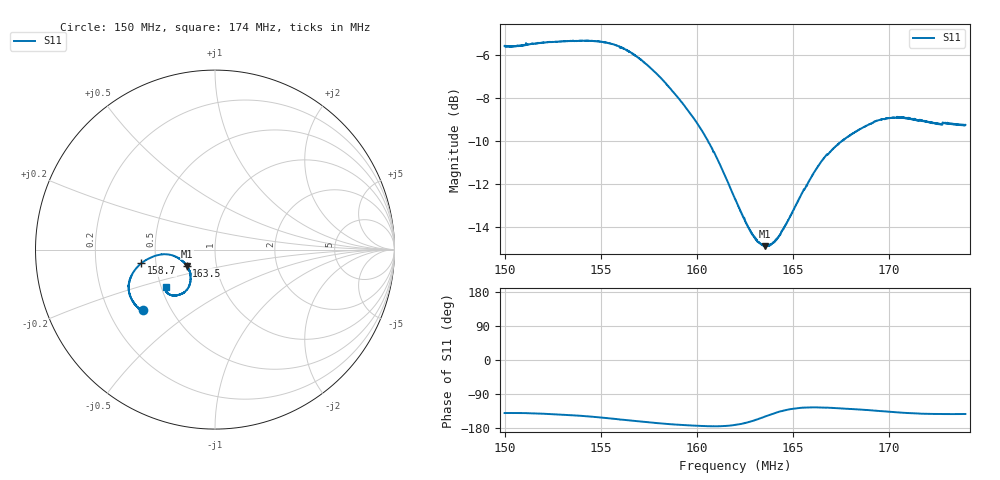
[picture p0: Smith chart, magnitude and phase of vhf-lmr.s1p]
! Calibrated averaged scanner-service zoom
# Hz S RI R 50
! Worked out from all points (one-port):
!   2001 points, 150 MHz to 174 MHz, reference 50 ohm
!   lowest |S11| = -14.9 dB at 163.6 MHz (marker M1), VSWR 1.44, Z = 36 - j6.85 ohm
!   |S11| at or under -10 dB: 160.6 MHz to 167.6 MHz (6.967 MHz wide, 4.25 % of centre)
!   S11 on the Smith chart (normalised r, x): 150 MHz: 0.35, -0.33; 158.7 MHz: 0.41, -0.08; 163.5 MHz: 0.72, -0.13; 174 MHz: 0.53, -0.25
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1.5e8  -0.4027 -0.3385
1.51212e8  -0.4088 -0.3377
1.53e8  -0.4374 -0.3157
1.54464e8  -0.465 -0.2765
1.5534e8  -0.4785 -0.2406
1.56e8  -0.4819 -0.203
1.572e8  -0.4637 -0.1425
1.58652e8  -0.4109 -0.0766
1.59e8  -0.3952 -0.0648
1.59864e8  -0.3542 -0.0426
1.60476e8  -0.3218 -0.0313
1.61244e8  -0.276 -0.0258
1.62e8  -0.2297 -0.0344
1.62864e8  -0.183 -0.0606
1.63188e8  -0.1696 -0.0749
1.635e8  -0.1575 -0.0897
1.6356e8  -0.1551 -0.0919
1.6386e8  -0.1464 -0.1072
1.64184e8  -0.1398 -0.1252
1.65e8  -0.1359 -0.1687
1.65744e8  -0.1437 -0.2043
1.66548e8  -0.1652 -0.2326
1.6734e8  -0.1879 -0.2473
1.68e8  -0.2067 -0.2527
1.69464e8  -0.2473 -0.2526
1.71e8  -0.2736 -0.2312
1.72368e8  -0.2761 -0.2132
1.74e8  -0.2736 -0.2099
